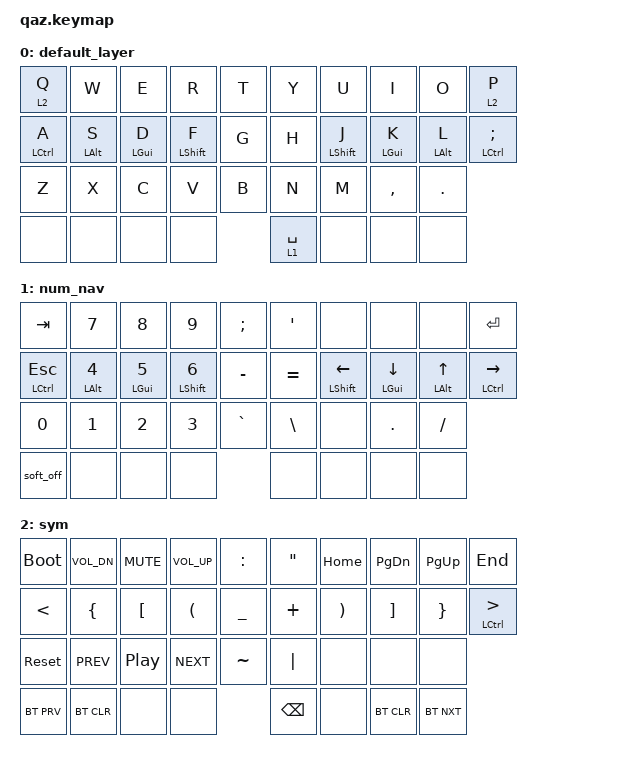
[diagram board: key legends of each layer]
/*
 * Copyright (c) 2020 The ZMK Contributors
 *
 * SPDX-License-Identifier: MIT
 */

#include <behaviors.dtsi>
#include <dt-bindings/zmk/keys.h>
#include <dt-bindings/zmk/bt.h>

/ {
    behaviors {
        hm: homerow_mods {
            compatible = "zmk,behavior-hold-tap";
            label = "homerow mods";
            #binding-cells = <2>;
            tapping-term-ms = <225>;
            flavor = "tap-preferred";
            bindings = <&kp>, <&kp>;
        };
        bh: layer_taps {
			compatible = "zmk,behavior-hold-tap";
			label = "Layer-Tap";
			#binding-cells = <2>;
			tapping_term_ms = <200>;
            flavor = "tap-preferred";
			bindings = <&mo>, <&kp>;
        };
    };
};

/ {
    keymap {
        compatible = "zmk,keymap";

        default_layer {
            bindings = <
    &bh 2 Q     &kp W      &kp E      &kp R       &kp T &kp Y &kp U       &kp I       &kp O      &bh 2 P
    &hm LCTRL A &hm LALT S &hm LGUI D &hm LSHFT F &kp G &kp H &hm LSHFT J &hm LGUI K &hm LALT L &hm LCTRL SEMI
    &kp Z       &kp X      &kp C      &kp V       &kp B &kp N &kp M       &kp COMMA  &kp DOT
    &none       &none      &none      &none       &lt 1 SPACE &none       &none      &none
            >;
        };
        num_nav {
            bindings = <
    &kp TAB       &kp N7      &kp N8      &kp N9       &kp SEMI  &kp SQT   &none          &none         &none       &kp RET
    &hm LCTRL ESC &hm LALT N4 &hm LGUI N5 &hm LSHFT N6 &kp MINUS &kp EQUAL &hm LSHFT LEFT &hm LGUI DOWN &hm LALT UP &hm LCTRL RIGHT
    &kp N0        &kp N1      &kp N2      &kp N3       &kp GRAVE &kp BSLH  &none          &kp DOT       &kp FSLH
    &soft_off     &none       &none       &none        &none               &none          &none         &none
            >;
        };

        sym {
            bindings = <
    &bootloader &kp C_VOL_DN &kp K_MUTE &kp C_VOL_UP &kp COLON &kp DQT  &kp HOME &kp PG_DN  &kp PG_UP &kp END
    &kp LT      &kp LBRC     &kp LBKT   &kp LPAR     &kp UNDER &kp PLUS &kp RPAR &kp RBKT   &kp RBRC  &hm LCTRL GT
    &sys_reset      &kp C_PREV   &kp C_PP   &kp C_NEXT   &kp TILDE &kp PIPE &none    &none      &none 
    &bt BT_PRV  &bt BT_CLR   &none      &none        &kp BSPC           &none    &bt BT_CLR &bt BT_NXT
            >;
        };
    };
};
